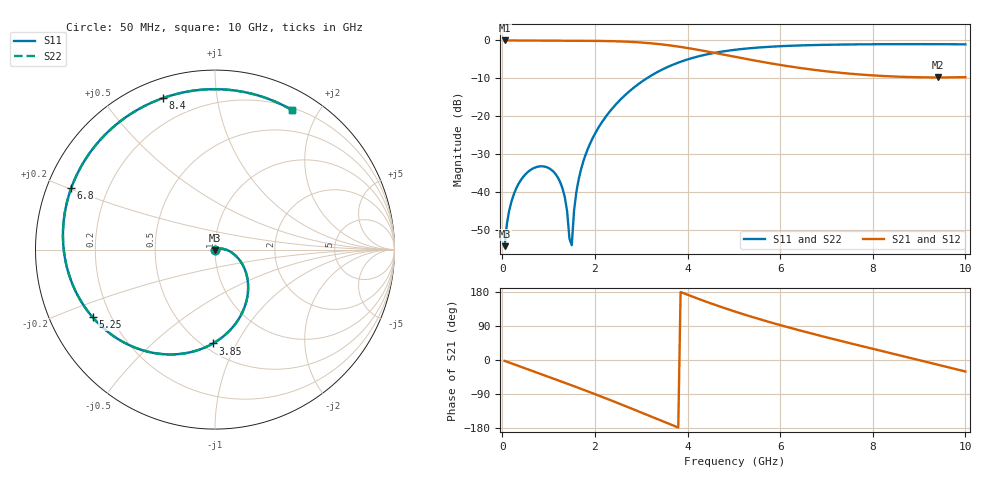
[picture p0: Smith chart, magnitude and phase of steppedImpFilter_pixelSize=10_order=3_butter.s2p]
! freq	dB(S11)	phase(S11)	dB(S12)	phase(S12)
!  dB(S21)	phase(S21)	dB(S22)	phase(S22)
!S-par simulation data
#  GHz  S  DB  R 50
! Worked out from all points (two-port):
!   200 points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, 50 MHz to 10 GHz, reference 50 ohm
!   highest |S21| = -0.01 dB at 50 MHz (marker M1); lowest = -9.8 dB at 9.4 GHz (marker M2)
!   |S21| within 3 dB of the highest: start of sweep to 4.462 GHz
!   lowest |S11| = -54.4 dB at 50 MHz (marker M3), VSWR 1.00, Z = 50 - j0.191 ohm
!   |S11| at or under -10 dB: start of sweep to 3.121 GHz
!   |S22| runs from -54.4 to -1.0 dB; largest |S21 - S12| = 0
!   S11 on the Smith chart (normalised r, x): 50 MHz: 1.00, -0.00; 3.85 GHz: 0.56, -0.81; 5.25 GHz: 0.13, -0.25; 6.8 GHz: 0.07, +0.20; 8.4 GHz: 0.09, +0.71; 10 GHz: 0.23, +1.67
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0.05  -54.37 -90.0  -0.01 -2.3  -0.01 -2.3  -54.37 -90.0
0.15  -44.90 -95.8  -0.01 -6.7  -0.01 -6.7  -44.90 -95.8
0.3  -39.13 -102.9  -0.02 -13.3  -0.02 -13.3  -39.13 -102.9
0.85  -33.25 -129.0  -0.04 -37.7  -0.04 -37.7  -33.25 -128.9
1.25  -37.44 -149.9  -0.06 -55.6  -0.06 -55.6  -37.44 -149.8
1.35  -41.44 -157.5  -0.07 -60.1  -0.07 -60.1  -41.44 -157.4
1.45  -52.38 176.9  -0.07 -64.6  -0.07 -64.6  -52.41 177.2
1.5  -54.09 63.6  -0.07 -66.9  -0.07 -66.9  -54.13 63.2
1.55  -44.92 32.9  -0.08 -69.2  -0.08 -69.2  -44.92 32.7
1.6  -40.02 25.2  -0.08 -71.5  -0.08 -71.5  -40.02 25.1
1.75  -31.96 14.1  -0.09 -78.3  -0.09 -78.3  -31.96 14.1
2.35  -18.34 -16.6  -0.19 -106.6  -0.19 -106.6  -18.34 -16.6
3.4  -8.02 -69.1  -0.99 -158.6  -0.99 -158.6  -8.02 -69.1
3.85  -5.64 -91.2  -1.72 179.4  -1.72 179.4  -5.64 -91.2
5.05  -2.43 -143.4  -4.39 126.8  -4.39 126.8  -2.43 -143.3
5.25  -2.17 -151.0  -4.85 119.1  -4.85 119.1  -2.17 -151.0
6.7  -1.23 159.9  -7.72 69.2  -7.72 69.2  -1.23 160.0
6.8  -1.20 156.8  -7.88 66.1  -7.88 66.1  -1.20 156.8
8.35  -0.99 110.3  -9.48 19.1  -9.48 19.1  -0.99 110.4
8.4  -0.99 108.9  -9.51 17.6  -9.51 17.6  -0.99 108.9
9.4  -0.99 79.2  -9.78 -12.2  -9.78 -12.2  -0.99 79.2
10  -1.03 61.3  -9.70 -30.3  -9.70 -30.3  -1.03 61.3
